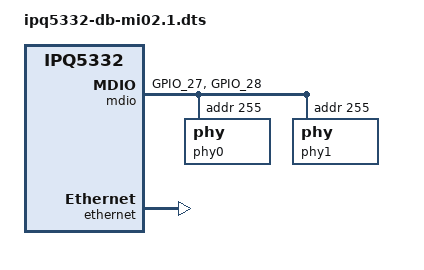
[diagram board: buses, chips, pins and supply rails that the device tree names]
// SPDX-License-Identifier: GPL-2.0-only
/*
* Copyright (c) 2023, Qualcomm Innovation Center, Inc. All rights reserved.
*/

#include "ipq5332-default.dts"

/ {
	config_name = "config@db-mi02.1", "config-db-mi02.1";

	soc: soc {
		tlmm: pinctrl@1000000 {
			mdio_pinmux: mdio {
				mdc {
					pins = "GPIO_27";
					function = "mdc_1";
					drive-strength = <DRIVE_STRENGTH_8MA>;
					bias-disable;
				};

				mdio {
					pins = "GPIO_28";
					function = "mdio_1";
					drive-strength = <DRIVE_STRENGTH_8MA>;
					bias-pull-up;
				};
			};
		};

		mdio: mdio@90000 {
			pinctrl-names = "default";
			pinctrl-0 = <&mdio_pinmux>;
			status = "okay";

			phy0: phy@ff {
				reg = <0xFF>;
				phy_id = <5>;
				id = <1>;
				uniphy_id = <0>;
				uniphy_type = <0>;
				max_speed = <10000>;
				xgmac;
			};

			phy1: phy@ff {
				reg = <0xFF>;
				phy_id = <5>;
				id = <2>;
				uniphy_id = <1>;
				uniphy_type = <0>;
				max_speed = <10000>;
				xgmac;
			};
		};

		ethernet: nss-switch {
			phy-handle0 = <&phy0>;
			phy-handle1 = <&phy1>;
			status = "okay";
		};
	};
};
